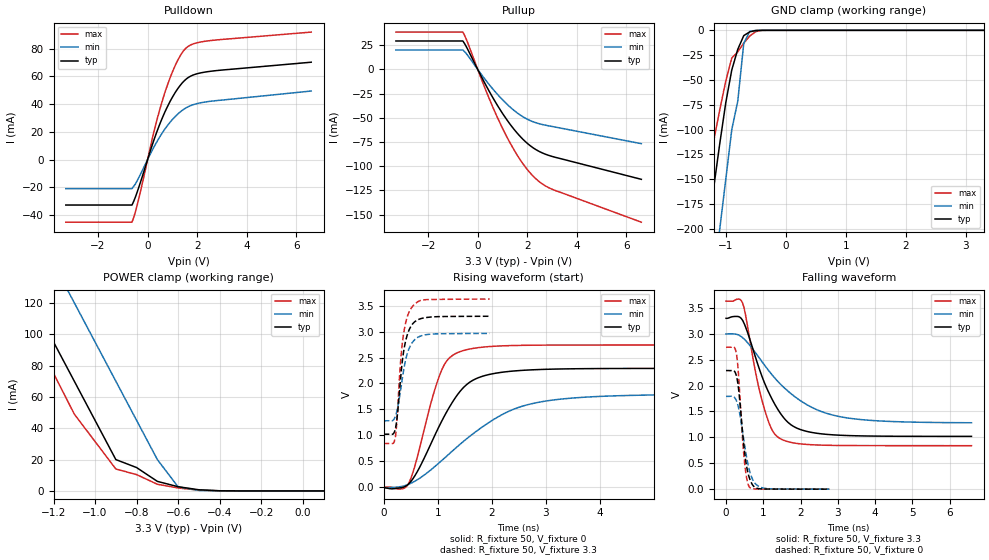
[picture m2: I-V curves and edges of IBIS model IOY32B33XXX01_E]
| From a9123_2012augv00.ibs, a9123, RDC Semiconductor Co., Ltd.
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[Model]   IOY32B33XXX01_E
|   IOY32B33XXX01_E  MODEL
|   DATE   :  2008/8/25 ;
|   REVISION :  0.1.1 ;
|   Model generated   Mon Aug 25 17:59:41 2008
Model_type  I/O
Polarity   Non-Inverting
Enable   Active-Low
| Signals
Vinl = 0.8
Vinh = 2.0
Vmeas = 1.65
| variable   typ   min   max
C_comp   1.855pf   1.758pf   1.986pf
[Model Spec]
|   Subparameter   typ   min   max
Vinh   2.000   2.000   2.000
Vinl   0.800   0.800   0.800
Vmeas   1.650   1.485   1.815
[Temperature Range]   25   125   -40
|   typ   min   max
[Voltage Range]   3.3V   2.97V   3.63V
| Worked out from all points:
|   slope of the pulldown table from 0 to 0.495 V, typ, clamps not added: 19.3 ohm
|   slope of the pullup table from 0 to 0.495 V, typ, clamps not added: 20.6 ohm
|   GND clamp passes 1 mA (typ) near -0.56 V on its own axis
|   POWER clamp passes 1 mA (typ) near -0.51 V on its own axis
|   rising waveform, R_fixture 50, V_fixture 0: 20-80 % time 701ps typ, 1.36ns min, 434ps max; typ from -0.008 V to 2.29 V
|   falling waveform, R_fixture 50, V_fixture 3.3: 20-80 % time 788ps typ, 1.41ns min, 500ps max; typ from 3.3 V to 1.02 V
|   rising waveform, R_fixture 50, V_fixture 3.3: 20-80 % time 150ps typ, 180ps min, 135ps max; typ from 1.02 V to 3.3 V
|   falling waveform, R_fixture 50, V_fixture 0: 20-80 % time 197ps typ, 256ps min, 156ps max; typ from 2.29 V to 0 V
[Pulldown]
|   Voltage   I(typ)   I(min)   I(max)
-3.3V     -32.82mA   -20.98mA   -45.21mA
-630mV    -32.82mA   -20.98mA   -45.21mA
-420mV    -23.45mA   -15.27mA   -32.9mA
280mV     15.37mA    9.833mA    21.81mA
700mV     34.4mA     22.06mA    48.48mA
910mV     42.06mA    26.99mA    59.13mA
1.19V     50.45mA    32.38mA    70.72mA
1.4V      55.36mA    35.53mA    77.3mA
1.61V     58.82mA    37.88mA    81.32mA
1.96V     61.71mA    40.21mA    84.09mA
2.52V     63.63mA    42mA       85.79mA
6.6V      70.22mA    49.44mA    91.95mA
[GND Clamp]
|   Voltage   I(typ)   I(min)   I(max)
-3.3V     -1.21A     -1.3A      -1.15A
-1.4V     -252mA     -350mA     -200mA
-1.3V     -204mA     -300mA     -150mA
-1.2V     -158mA     -250mA     -111mA
-1.1V     -114mA     -200mA     -80mA
-1V       -72.9mA    -150mA     -51.1mA
-900mV    -39.9mA    -100mA     -27.9mA
-800mV    -19.1mA    -71.3mA    -21.7mA
-700mV    -5.32mA    -13mA      -12.9mA
-600mV    -1.53mA    -1.01mA    -5.7mA
-400mV    -13.4uA    -4.88uA    -88.4uA
3.3V      0A         0A         0A
[Pullup]
|   Voltage   I(typ)   I(min)   I(max)
|( VDD-Vmeas )
-3.3V     29.46mA    20.16mA    38.65mA
-600mV    29.46mA    20.16mA    38.65mA
-420mV    21.57mA    15.08mA    28.63mA
360mV     -17.74mA   -12.31mA   -23.71mA
960mV     -43.84mA   -30.26mA   -58.69mA
1.26V     -55.05mA   -37.82mA   -73.82mA
1.56V     -64.85mA   -44.27mA   -87.22mA
1.86V     -73.1mA    -49.47mA   -98.75mA
2.16V     -79.65mA   -53.32mA   -108.2mA
2.58V     -86mA      -56.76mA   -117.9mA
3V        -89.92mA   -58.94mA   -123.9mA
6.6V      -113.6mA   -76.74mA   -157.9mA
[POWER Clamp]
|   Voltage   I(typ)   I(min)   I(max)
|( VDD-Vmeas )
-3.3V     620mA      670mA      600mA
-1.4V     145mA      195mA      125mA
-1.3V     120mA      170mA      100mA
-1.2V     95mA       145mA      75mA
-1.1V     70mA       120mA      49mA
-900mV    20mA       70mA       14mA
-800mV    14.9mA     45mA       10.4mA
-700mV    6.09mA     20mA       4.26mA
-600mV    2.68mA     2.56mA     1.88mA
-500mV    731uA      316uA      511uA
-400mV    105uA      45.9uA     73.8uA
100mV     0A         0A         0A
[Rising Waveform]
R_fixture = 50
V_fixture = 0
V_fixture_min = 0
V_fixture_max = 0
C_fixture = 0
L_fixture = 0
|   Time   V(typ)   V(min)   V(max)
0s        -7.913mV   -16.15mV   2.894uV
324ps     -13.31mV   10.19mV    -35.32mV
468ps     66.52mV    56.2mV     81.97mV
1.044ns   1.211V     484.2mV    2.182V
1.188ns   1.492V     618.1mV    2.461V
1.404ns   1.835V     817.8mV    2.61V
1.872ns   2.152V     1.194V     2.704V
2.376ns   2.237V     1.491V     2.731V
2.916ns   2.27V      1.646V     2.739V
6.768ns   2.29V      1.79V      2.742V
[Falling Waveform]
R_fixture = 50
V_fixture = 3.3
V_fixture_min = 2.97
V_fixture_max = 3.63
C_fixture = 0
L_fixture = 0
|   Time   V(typ)   V(min)   V(max)
0s        3.299V     2.997V     3.63V
444ps     3.261V     2.926V     3.594V
518ps     3.143V     2.875V     3.383V
814ps     2.494V     2.611V     2.178V
999ps     2.112V     2.428V     1.625V
1.221ns   1.757V     2.22V      1.163V
1.443ns   1.481V     2.041V     980.5mV
1.961ns   1.161V     1.726V     877.7mV
2.997ns   1.044V     1.409V     844.3mV
6.586ns   1.02V      1.282V     840.3mV
[Rising Waveform]
R_fixture = 50
V_fixture = 3.3
V_fixture_min = 2.97
V_fixture_max = 3.63
C_fixture = 0
L_fixture = 0
|   Time   V(typ)   V(min)   V(max)
0s        1.02V      1.279V     840.3mV
208ps     1.091V     1.345V     920.1mV
232ps     1.211V     1.418V     1.104V
256ps     1.413V     1.522V     1.453V
304ps     1.986V     1.806V     2.293V
352ps     2.486V     2.14V      2.83V
424ps     2.891V     2.528V     3.242V
520ps     3.127V     2.774V     3.468V
800ps     3.274V     2.944V     3.618V
1.96ns    3.297V     2.965V     3.628V
[Falling Waveform]
R_fixture = 50
V_fixture = 0
V_fixture_min = 0
V_fixture_max = 0
C_fixture = 0
L_fixture = 0
|   Time   V(typ)   V(min)   V(max)
0s        2.29V      1.792V     2.742V
210ps     2.288V     1.782V     2.746V
280ps     2.182V     1.705V     2.606V
330ps     1.97V      1.587V     2.256V
490ps     761.8mV    886.8mV    565.4mV
560ps     409.4mV    584mV      188mV
630ps     209.5mV    357mV      38.13mV
760ps     42.76mV    129.3mV    4.932mV
970ps     4.666mV    27.31mV    2.07mV
2.77ns    217.8uV    696.2uV    58.69uV
[Ramp]
| variables   typ   min   max
dV/dt_r   1.37418/698.917p 1.07562/1.35302n 1.64496/433.509p
dV/dt_f   1.36824/787.548p 1.01448/1.41104n 1.67385/499.78p
R_load   = 50.000000 | Ohms
| [End Model]
